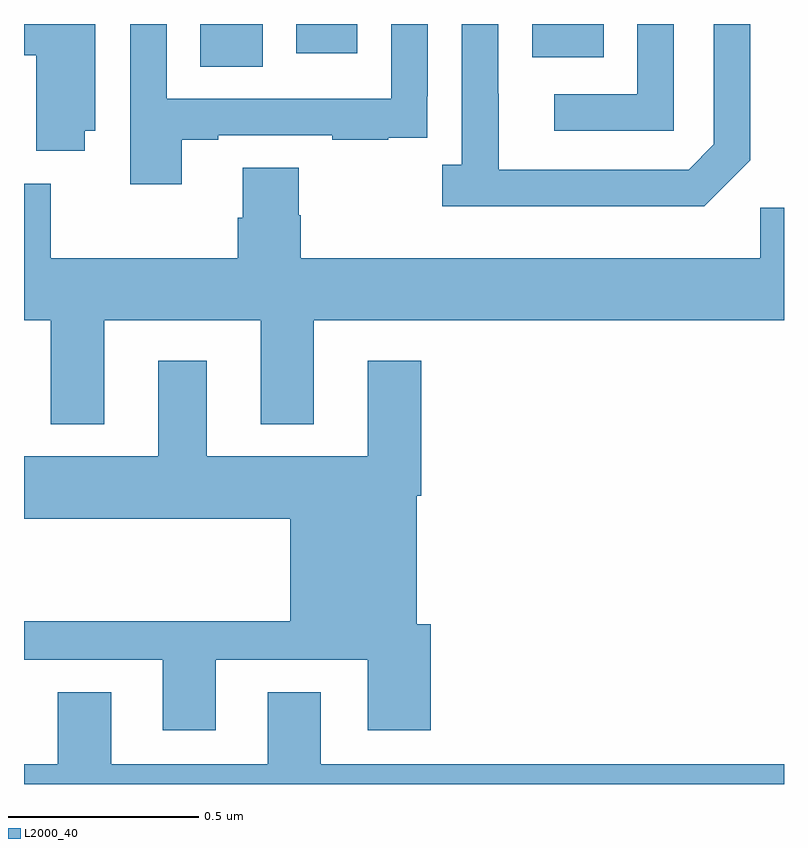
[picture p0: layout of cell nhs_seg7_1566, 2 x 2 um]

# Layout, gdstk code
import gdstk
lib = gdstk.Library(unit=1e-6, precision=1e-09)
def R(c, l, rs):  # rectangles x0, y0, x1, y1
    for r in rs: c.add(gdstk.rectangle(r[:2], r[2:], *l))
def P(c, l, *ps):  # polygons
    for p in ps: c.add(gdstk.Polygon(p, *l))
L2000_40 = (2000, 40)

nhs_seg7_1566 = lib.new_cell('nhs_seg7_1566')
R(nhs_seg7_1566, L2000_40, [(132.464,1063.888,132.628,1064), (133.337,1063.913,133.525,1064), (132.716,1063.923,132.877,1064)])
P(nhs_seg7_1566, L2000_40, [(133.71,1064),(133.614,1064),(133.614,1063.815),(133.395,1063.815),(133.395,1063.719),(133.71,1063.719)],
  [(133.911,1063.641),(133.911,1064),(133.815,1064),(133.815,1063.683),(133.749,1063.617),(133.249,1063.617),(133.249,1063.817),(133.248,1063.817),(133.248,1064),(133.152,1064),(133.152,1063.63),(133.101,1063.63),(133.101,1063.52),(133.79,1063.52)],
  [(132.16,1063.719),(132.187,1063.719),(132.187,1064),(132,1064),(132,1063.918),(132.032,1063.918),(132.032,1063.667),(132.16,1063.667)],
  [(132.415,1063.695),(132.511,1063.695),(132.511,1063.707),(132.811,1063.707),(132.811,1063.695),(132.959,1063.695),(132.959,1063.701),(133.061,1063.701),(133.061,1063.81),(133.062,1063.81),(133.062,1064),(132.966,1064),(132.966,1063.803),(132.375,1063.803),(132.375,1064),(132.279,1064),(132.279,1063.578),(132.415,1063.578)],
  [(132.211,1063.22),(132.623,1063.22),(132.623,1062.947),(132.763,1062.947),(132.763,1063.22),(134,1063.22),(134,1063.516),(133.938,1063.516),(133.938,1063.384),(132.728,1063.384),(132.728,1063.497),(132.723,1063.497),(132.723,1063.622),(132.575,1063.622),(132.575,1063.49),(132.563,1063.49),(132.563,1063.384),(132.07,1063.384),(132.07,1063.579),(132,1063.579),(132,1063.22),(132.071,1063.22),(132.071,1062.947),(132.211,1062.947)],
  [(132.505,1062.327),(132.905,1062.327),(132.905,1062.141),(133.07,1062.141),(133.07,1062.42),(133.033,1062.42),(133.033,1062.758),(133.046,1062.758),(133.046,1063.114),(132.905,1063.114),(132.905,1062.862),(132.481,1062.862),(132.481,1063.114),(132.353,1063.114),(132.353,1062.862),(132,1062.862),(132,1062.698),(132.701,1062.698),(132.701,1062.428),(132,1062.428),(132,1062.327),(132.365,1062.327),(132.365,1062.141),(132.505,1062.141)],
  [(134,1062.052),(132.781,1062.052),(132.781,1062.242),(132.641,1062.242),(132.641,1062.052),(132.229,1062.052),(132.229,1062.242),(132.089,1062.242),(132.089,1062.052),(132,1062.052),(132,1062),(134,1062)])

lib.write_gds('nhs_seg7_1566.gds')
